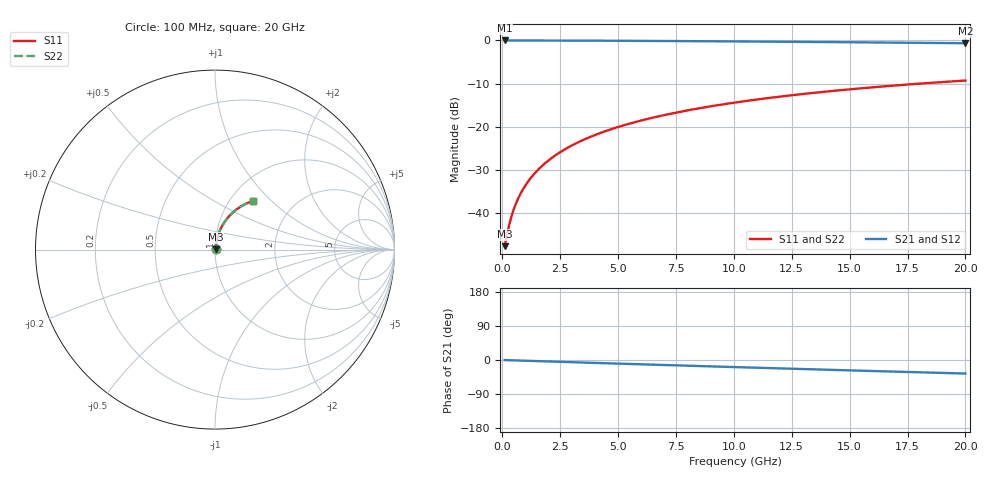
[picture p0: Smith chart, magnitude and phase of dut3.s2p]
! Touchstone file exported from HFSS 2026.1.0
!  File:  C:/ffzhzh/LocalFiles/Ansys_Project_Files/temp_train_TMRDL_3_1782879500_39248.aedt
!  Generated:  12:19:44 PM Jul  1, 2026
!  Design:  TMRDL
!  Project:  temp_train_TMRDL_3_1782879500_39248
! Variables:
!  h_bsmrdl = 2um
!  h_ox = 20um
!  h_rdl = 5um
!  h_sub = 80um
!  h_tmrdl = 4.92um
!  h_tsv = 80um
!  h_via = 3um
!  l_bsmrdl = 300um
!  l_sub = 930.12um
!  l_tmrdl = 530.12um
!  m_sub = 200um
!  pitch = 30.45um
!  r_tsv = 6um
!  s_tmrdl = 10um
!  w_bsmrdl = 18um
!  w_sub = 500um
!  w_tmrdl = 10.81um
!  x_tsv_center1 = 535.525um
!  x_tsv_center2 = 853.525um
!  x_tsv_center3 = 1394.455um
!  x_tsv_center4 = 1712.455um
!  x_tsv_center5 = 2253.385um
!  x_tsv_center6 = 2571.385um
# GHz S MA R 50.000000
! Terminal data exported
! Port[1] = TM_RDL1_1_T1
! Port[2] = TM_RDL1_1_T2
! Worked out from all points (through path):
!   200 points, 100 MHz to 20 GHz, reference 50 ohm
!   highest |S21| = -0.03 dB at 100 MHz (marker M1); lowest = -0.7 dB at 20 GHz (marker M2)
!   group delay of S21, straight-line fit = 4.96 ps
!   lowest |S11| = -47.6 dB at 100 MHz (marker M3), VSWR 1.01, Z = 50.4 + j0.216 ohm
!   |S11| at or under -10 dB: start of sweep to 18.05 GHz
!   |S22| runs from -47.6 to -9.3 dB; largest |S21 - S12| = 2.3e-15
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0.1  0.004178 31.0  0.9964 -0.2  0.9964 -0.2  0.004178 31.0
! Gamma 0 0 0 0
! Port Impedance 50 0 50 0
0.2  0.005634 49.4  0.9963 -0.4  0.9963 -0.4  0.005634 49.4
0.3  0.007409 59.2  0.9962 -0.6  0.9962 -0.6  0.007409 59.2
0.4  0.009296 65.0  0.9961 -0.8  0.9961 -0.8  0.009297 65.0
0.5  0.01123 68.7  0.996 -1.0  0.996 -1.0  0.01123 68.7
0.6  0.01317 71.3  0.996 -1.2  0.996 -1.2  0.01317 71.3
0.8  0.0171 74.5  0.9958 -1.6  0.9958 -1.6  0.0171 74.5
1.1  0.02305 77.2  0.9955 -2.1  0.9955 -2.1  0.02305 77.2
1.3  0.02703 78.2  0.9953 -2.5  0.9953 -2.5  0.02703 78.2
1.6  0.03302 79.1  0.995 -3.1  0.995 -3.1  0.03302 79.1
2.1  0.043 79.6  0.9944 -4.1  0.9944 -4.1  0.043 79.6
2.7  0.05492 79.4  0.9934 -5.2  0.9934 -5.2  0.05492 79.4
3.5  0.07067 78.6  0.9918 -6.7  0.9918 -6.7  0.07067 78.6
4.2  0.08428 77.7  0.9902 -8.1  0.9902 -8.1  0.08428 77.7
5  0.09961 76.5  0.9882 -9.6  0.9882 -9.6  0.09961 76.5
5.9  0.1166 75.0  0.9856 -11.2  0.9856 -11.2  0.1166 75.0
6.8  0.1332 73.6  0.9828 -12.9  0.9828 -12.9  0.1332 73.6
8.3  0.1603 71.1  0.9778 -15.6  0.9778 -15.6  0.1603 71.1
10.1  0.1917 68.1  0.9711 -18.9  0.9711 -18.9  0.1917 68.1
13.4  0.2464 62.6  0.9574 -24.7  0.9574 -24.7  0.2464 62.6
16.7  0.2969 57.3  0.9421 -30.3  0.9421 -30.3  0.2969 57.3
20  0.3428 52.0  0.9258 -35.7  0.9258 -35.7  0.3428 52.0
